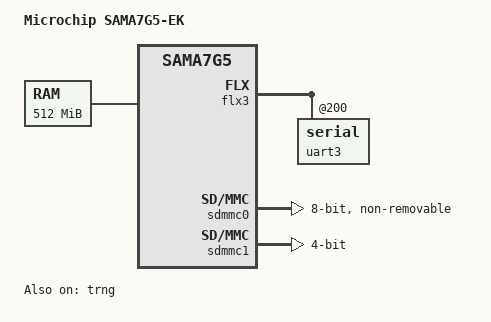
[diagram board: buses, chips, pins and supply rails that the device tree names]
// SPDX-License-Identifier: (GPL-2.0+ OR MIT)
/*
 *  at91-sama7g5ek.dts - Device Tree file for SAMA7G5-EK board
 *
 *  Copyright (c) 2020 Microchip Technology Inc. and its subsidiaries
 *
 *  Author: Eugen Hristev <eugen.hristev@microchip.com>
 *  Author: Claudiu Beznea <claudiu.beznea@microchip.com>
 *
 */
/dts-v1/;
#define CONFIG_OPTEE
#include "sama7g5-pinfunc.h"
#include "sama7g5.dtsi"
#ifdef CONFIG_OPTEE
#include "sama7g5-optee.dtsi"
#endif
#include <dt-bindings/mfd/atmel-flexcom.h>
#include <dt-bindings/input/input.h>
#include <dt-bindings/pinctrl/at91.h>
#include <dt-bindings/sound/microchip,asrc-card.h>
#include <dt-bindings/sound/microchip,pdmc.h>

/ {
	model = "Microchip SAMA7G5-EK";
	compatible = "microchip,sama7g5ek", "microchip,sama7g5", "microchip,sama7";

	chosen {
		bootargs = "rw root=/dev/mmcblk1p2 rootfstype=ext4 rootwait";
		stdout-path = "serial0:115200n8";
	};

	aliases {
		serial0 = &uart3;
	};

	clocks {
		slow_xtal {
			clock-frequency = <32768>;
		};

		main_xtal {
			clock-frequency = <24000000>;
		};
	};

	/* 512 M */
	memory@60000000 {
		device_type = "memory";
		reg = <0x60000000 0x20000000>;
	};
};

&flx3 {
	atmel,flexcom-mode = <ATMEL_FLEXCOM_MODE_USART>;
	status = "okay";

	uart3: serial@200 {
		pinctrl-names = "default";
		pinctrl-0 = <&pinctrl_flx3_default>;
		status = "okay";
	};
};

&pioA {

	pinctrl_flx3_default: flx3_default {
		pinmux = <PIN_PD16__FLEXCOM3_IO0>,
			 <PIN_PD17__FLEXCOM3_IO1>;
		bias-pull-up;
	};

	pinctrl_sdmmc0_default: sdmmc0_default {
		cmd_data {
			pinmux = <PIN_PA1__SDMMC0_CMD>,
				 <PIN_PA3__SDMMC0_DAT0>,
				 <PIN_PA4__SDMMC0_DAT1>,
				 <PIN_PA5__SDMMC0_DAT2>,
				 <PIN_PA6__SDMMC0_DAT3>,
				 <PIN_PA7__SDMMC0_DAT4>,
				 <PIN_PA8__SDMMC0_DAT5>,
				 <PIN_PA9__SDMMC0_DAT6>,
				 <PIN_PA10__SDMMC0_DAT7>;
			slew-rate = <0>;
			bias-pull-up;
		};

		ck_cd_rstn_vddsel {
			pinmux = <PIN_PA0__SDMMC0_CK>,
				 <PIN_PA2__SDMMC0_RSTN>,
				 <PIN_PA11__SDMMC0_DS>;
			slew-rate = <0>;
			bias-pull-up;
		};
	};

	pinctrl_sdmmc1_default: sdmmc1_default {
		cmd_data {
			pinmux = <PIN_PB29__SDMMC1_CMD>,
				 <PIN_PB31__SDMMC1_DAT0>,
				 <PIN_PC0__SDMMC1_DAT1>,
				 <PIN_PC1__SDMMC1_DAT2>,
				 <PIN_PC2__SDMMC1_DAT3>;
			slew-rate = <0>;
			bias-pull-up;
		};

		ck_cd_rstn_vddsel {
			pinmux = <PIN_PB30__SDMMC1_CK>,
				 <PIN_PB28__SDMMC1_RSTN>,
				 <PIN_PC5__SDMMC1_1V8SEL>,
				 <PIN_PC4__SDMMC1_CD>;
			slew-rate = <0>;
			bias-pull-up;
		};
	};
};

&sdmmc0 {
	bus-width = <8>;
	non-removable;
	mmc-ddr-1_8v;
	cap-mmc-highspeed;
	cap-mmc-hw-reset;
	pinctrl-names = "default";
	pinctrl-0 = <&pinctrl_sdmmc0_default>;
	status = "okay";
};

&sdmmc1 {
	bus-width = <4>;
	pinctrl-names = "default";
	pinctrl-0 = <&pinctrl_sdmmc1_default>;
	status = "okay";
};

&tcb0 {
	timer0: timer@0 {
		compatible = "atmel,tcb-timer";
		reg = <0>;
	};

	timer1: timer@1 {
		compatible = "atmel,tcb-timer";
		reg = <1>;
	};
};

&trng {
	status = "okay";
};
